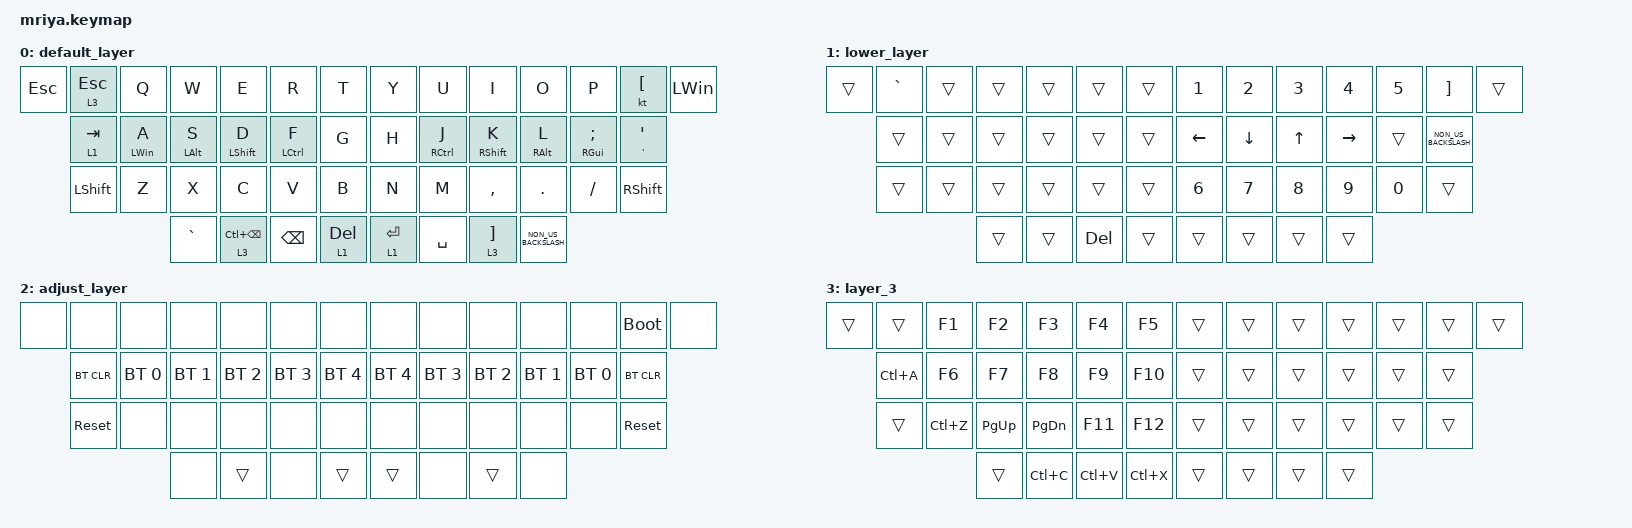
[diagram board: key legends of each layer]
/*
 * Copyright (c) 2023 Andrei Gaevskii
 *
 * SPDX-License-Identifier: MIT
 */

#include <behaviors.dtsi>
#include <dt-bindings/zmk/bt.h>
#include <dt-bindings/zmk/keys.h>
#include <dt-bindings/zmk/keys.h>

#define DEF 0
#define LWR 1
#define RSE 2
#define ADJ 3

&lt { quick_tap_ms = <200>; };

&mt { quick_tap_ms = <200>; };

/ {
    combos {
        compatible = "zmk,combos";

        btlayer {
            bindings = <&lt 2 LC(LEFT_SHIFT)>;
            key-positions = <39 41>;
            require-prior-idle-ms = <0>;
            layers = <0 1 2>;
        };

        sk1 {
            bindings = <&kp LEFT_BRACKET>;
            key-positions = <7 8>;
            layers = <0 1 2>;
        };

        sk2 {
            bindings = <&kp RIGHT_BRACKET>;
            key-positions = <8 9>;
            layers = <0 1 2>;
        };

        pl {
            bindings = <&kp EQUAL>;
            key-positions = <20 21>;
            layers = <0 1 2>;
        };

        mn {
            bindings = <&kp MINUS>;
            key-positions = <21 22>;
            layers = <0 1 2>;
        };

        block {
            bindings = <&kp LG(L)>;
            key-positions = <0 13>;
            layers = <0 1 2>;
        };

        terminal {
            bindings = <&kp LA(LC(T))>;
            key-positions = <41 42>;
        };

        slsh {
            bindings = <&kp NON_US_BACKSLASH>;
            key-positions = <11 10>;
            layers = <0 1 2>;
        };

        kskb1 {
            bindings = <&kp LEFT_PARENTHESIS>;
            key-positions = <32 33>;
            layers = <0 1 2>;
        };

        kskb2 {
            bindings = <&kp RIGHT_PARENTHESIS>;
            key-positions = <33 34>;
            layers = <0 1 2>;
        };

        pipe {
            bindings = <&kp PIPE>;
            key-positions = <12 11>;
            layers = <1 0 3>;
        };
    };

    behaviors {
        copypast: copypast {
            compatible = "zmk,behavior-tap-dance";
            label = "COPYPAST";
            #binding-cells = <0>;
            bindings = <&kp GRAVE>, <&kp LC(LS(C))>, <&kp LC(RS(V))>;
        };

        cpst: cpst {
            compatible = "zmk,behavior-tap-dance";
            label = "CPST";
            #binding-cells = <0>;
            bindings = <&kp LEFT_BRACKET>, <&kp LC(C)>, <&kp LC(V)>;
        };
    };

    keymap {
        compatible = "zmk,keymap";

        default_layer {
            bindings = <
&kp ESCAPE  &lt 3 ESC       &kp Q           &kp W           &kp E                &kp R          &kp T           &kp Y        &kp U        &kp I                &kp O                 &kp P                    &kt LEFT_BRACKET  &kp LEFT_WIN
            &lt 1 TAB       &mt LEFT_WIN A  &mt LEFT_ALT S  &mt LEFT_SHIFT D     &mt LCTRL F    &kp G           &kp H        &mt RCTRL J  &mt RIGHT_SHIFT K    &mt RIGHT_ALT L       &mt RIGHT_GUI SEMICOLON  &mt SQT SQT
            &kp LEFT_SHIFT  &kp Z           &kp X           &kp C                &kp V          &kp B           &kp N        &kp M        &kp COMMA            &kp DOT               &kp FSLH                 &kp RIGHT_SHIFT
                                            &kp GRAVE       &lt 3 LC(BACKSPACE)  &kp BACKSPACE  &lt 1 DELETE    &lt 1 ENTER  &kp SPACE    &lt 3 RIGHT_BRACKET  &kp NON_US_BACKSLASH
            >;
        };

        lower_layer {
            bindings = <
&trans  &kp GRAVE  &trans  &trans  &trans  &trans   &trans    &kp NUMBER_1  &kp NUMBER_2  &kp NUMBER_3  &kp NUMBER_4  &kp N5  &kp RIGHT_BRACKET     &trans
        &trans     &trans  &trans  &trans  &trans   &trans    &kp LEFT      &kp DOWN      &kp UP_ARROW  &kp RIGHT     &trans  &kp NON_US_BACKSLASH
        &trans     &trans  &trans  &trans  &trans   &trans    &kp NUMBER_6  &kp N7        &kp N8        &kp N9        &kp N0  &trans
                           &trans  &trans  &kp DEL  &trans    &trans        &trans        &trans        &trans
            >;
        };

        adjust_layer {
            bindings = <
&none  &none       &none         &none         &none         &none         &none           &none         &none         &none         &none         &none         &bootloader  &none
       &bt BT_CLR  &bt BT_SEL 0  &bt BT_SEL 1  &bt BT_SEL 2  &bt BT_SEL 3  &bt BT_SEL 4    &bt BT_SEL 4  &bt BT_SEL 3  &bt BT_SEL 2  &bt BT_SEL 1  &bt BT_SEL 0  &bt BT_CLR
       &sys_reset  &none         &none         &none         &none         &none           &none         &none         &none         &none         &none         &sys_reset
                                 &none         &trans        &none         &trans          &trans        &none         &trans        &none
            >;
        };

        layer_3 {
            bindings = <
&trans  &trans     &kp F1     &kp F2       &kp F3         &kp F4     &kp F5       &trans  &trans  &trans  &trans  &trans  &trans  &trans
        &kp LC(A)  &kp F6     &kp F7       &kp F8         &kp F9     &kp F10      &trans  &trans  &trans  &trans  &trans  &trans
        &trans     &kp LC(Z)  &kp PAGE_UP  &kp PAGE_DOWN  &kp F11    &kp F12      &trans  &trans  &trans  &trans  &trans  &trans
                              &trans       &kp LC(C)      &kp LC(V)  &kp LC(X)    &trans  &trans  &trans  &trans
            >;
        };
    };
};
